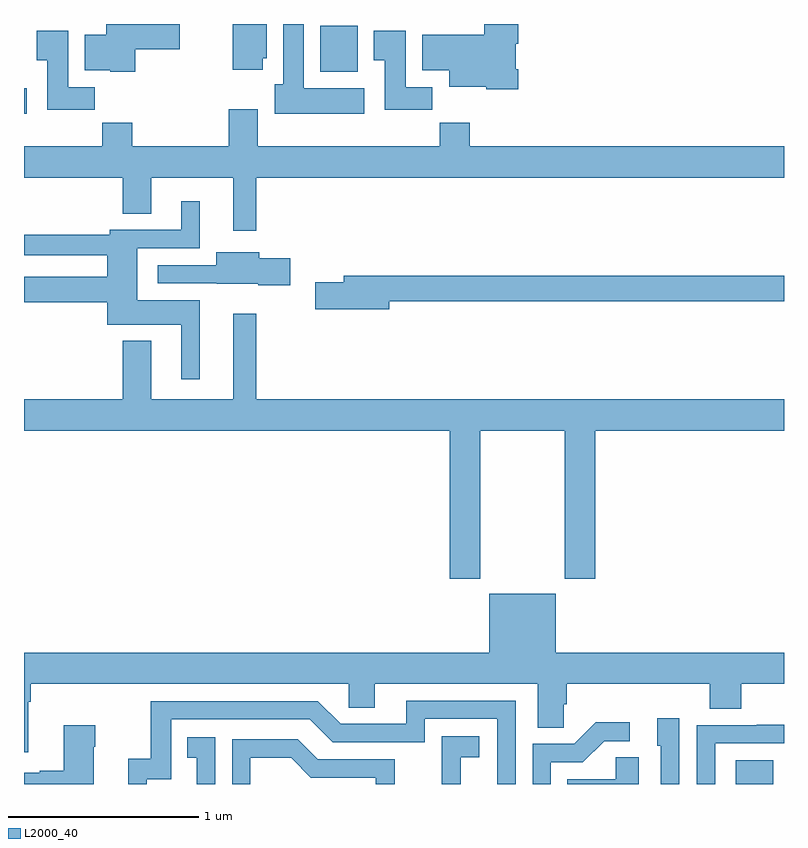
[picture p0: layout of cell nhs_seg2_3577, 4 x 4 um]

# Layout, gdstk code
import gdstk
lib = gdstk.Library(unit=1e-6, precision=1e-09)
def R(c, l, rs):  # rectangles x0, y0, x1, y1
    for r in rs: c.add(gdstk.rectangle(r[:2], r[2:], *l))
def P(c, l, *ps):  # polygons
    for p in ps: c.add(gdstk.Polygon(p, *l))
L2000_40 = (2000, 40)

nhs_seg2_3577 = lib.new_cell('nhs_seg2_3577')
R(nhs_seg2_3577, L2000_40, [(302.747,621.8,302.944,621.925), (299,625.328,299.014,625.462), (300.56,625.55,300.757,625.792)])
P(nhs_seg2_3577, L2000_40, [(301.601,625.561),(301.588,625.561),(301.588,625.697),(301.601,625.697),(301.601,625.8),(301.423,625.8),(301.423,625.744),(301.097,625.744),(301.097,625.556),(301.238,625.556),(301.238,625.469),(301.434,625.469),(301.434,625.457),(301.601,625.457)],
  [(299.585,625.667),(299.821,625.667),(299.821,625.8),(299.432,625.8),(299.432,625.744),(299.321,625.744),(299.321,625.556),(299.454,625.556),(299.454,625.55),(299.585,625.55)],
  [(300.79,625.462),(300.472,625.462),(300.472,625.8),(300.365,625.8),(300.365,625.482),(300.32,625.482),(300.32,625.328),(300.79,625.328)],
  [(300.256,625.62),(300.277,625.62),(300.277,625.8),(300.098,625.8),(300.098,625.56),(300.256,625.56)],
  [(299.372,625.468),(299.233,625.468),(299.233,625.765),(299.066,625.765),(299.066,625.609),(299.123,625.609),(299.123,625.35),(299.372,625.35)],
  [(301.148,625.468),(301.009,625.468),(301.009,625.765),(300.842,625.765),(300.842,625.609),(300.899,625.609),(300.899,625.35),(301.148,625.35)],
  [(300.223,624.992),(303,624.992),(303,625.156),(301.346,625.156),(301.346,625.28),(301.189,625.28),(301.189,625.156),(300.229,625.156),(300.229,625.351),(300.077,625.351),(300.077,625.156),(299.57,625.156),(299.57,625.28),(299.413,625.28),(299.413,625.156),(299,625.156),(299,624.992),(299.519,624.992),(299.519,624.802),(299.671,624.802),(299.671,624.992),(300.101,624.992),(300.101,624.711),(300.223,624.711)],
  [(299.926,624.346),(299.596,624.346),(299.596,624.621),(299.926,624.621),(299.926,624.868),(299.828,624.868),(299.828,624.717),(299.45,624.717),(299.45,624.691),(299,624.691),(299,624.582),(299.438,624.582),(299.438,624.469),(299,624.469),(299,624.335),(299.438,624.335),(299.438,624.218),(299.828,624.218),(299.828,623.931),(299.926,623.931)],
  [(300.4,624.567),(300.238,624.567),(300.238,624.598),(300.011,624.598),(300.011,624.531),(299.703,624.531),(299.703,624.435),(300.015,624.435),(300.015,624.434),(300.234,624.434),(300.234,624.425),(300.4,624.425)],
  [(300.922,624.34),(303,624.34),(303,624.476),(300.683,624.476),(300.683,624.44),(300.534,624.44),(300.534,624.298),(300.922,624.298)],
  [(300.101,624.274),(300.101,623.824),(299.671,623.824),(299.671,624.133),(299.519,624.133),(299.519,623.824),(299,623.824),(299,623.66),(301.241,623.66),(301.241,622.881),(301.401,622.881),(301.401,623.66),(301.846,623.66),(301.846,622.881),(302.006,622.881),(302.006,623.66),(303,623.66),(303,623.824),(300.223,623.824),(300.223,624.274)],
  [(299.023,622.232),(299.036,622.232),(299.036,622.328),(300.708,622.328),(300.708,622.201),(300.847,622.201),(300.847,622.328),(301.703,622.328),(301.703,622.096),(301.842,622.096),(301.842,622.219),(301.856,622.219),(301.856,622.328),(302.609,622.328),(302.609,622.195),(302.774,622.195),(302.774,622.328),(303,622.328),(303,622.492),(301.798,622.492),(301.798,622.801),(301.448,622.801),(301.448,622.492),(299,622.492),(299,621.966),(299.023,621.966)],
  [(299.646,621.825),(299.775,621.825),(299.775,622.14),(300.504,622.14),(300.624,622.02),(301.11,622.02),(301.11,622.143),(301.491,622.143),(301.491,621.8),(301.587,621.8),(301.587,622.239),(301.013,622.239),(301.013,622.116),(300.666,622.116),(300.546,622.236),(299.667,622.236),(299.667,621.934),(299.549,621.934),(299.549,621.8),(299.646,621.8)],
  [(302.448,622.147),(302.333,622.147),(302.333,622.002),(302.352,622.002),(302.352,621.8),(302.448,621.8)],
  [(301.773,621.915),(301.942,621.915),(302.053,622.026),(302.188,622.026),(302.188,622.124),(302.009,622.124),(301.896,622.011),(301.677,622.011),(301.677,621.8),(301.773,621.8)],
  [(302.637,622.014),(303,622.014),(303,622.112),(302.857,622.112),(302.857,622.11),(302.541,622.11),(302.541,621.8),(302.637,621.8)],
  [(299.368,621.995),(299.376,621.995),(299.376,622.108),(299.21,622.108),(299.21,621.869),(299.084,621.869),(299.084,621.859),(299,621.859),(299,621.8),(299.368,621.8)],
  [(301.298,621.941),(301.396,621.941),(301.396,622.051),(301.198,622.051),(301.198,621.845),(301.199,621.845),(301.199,621.8),(301.298,621.8)],
  [(300.006,622.045),(299.86,622.045),(299.86,621.939),(299.909,621.939),(299.909,621.8),(300.006,621.8)],
  [(300.192,621.938),(300.406,621.938),(300.51,621.834),(300.852,621.834),(300.852,621.8),(300.951,621.8),(300.951,621.93),(300.547,621.93),(300.442,622.035),(300.096,622.035),(300.096,621.8),(300.192,621.8)],
  [(302.236,621.941),(302.115,621.941),(302.115,621.826),(301.858,621.826),(301.858,621.8),(302.236,621.8)])

lib.write_gds('nhs_seg2_3577.gds')
